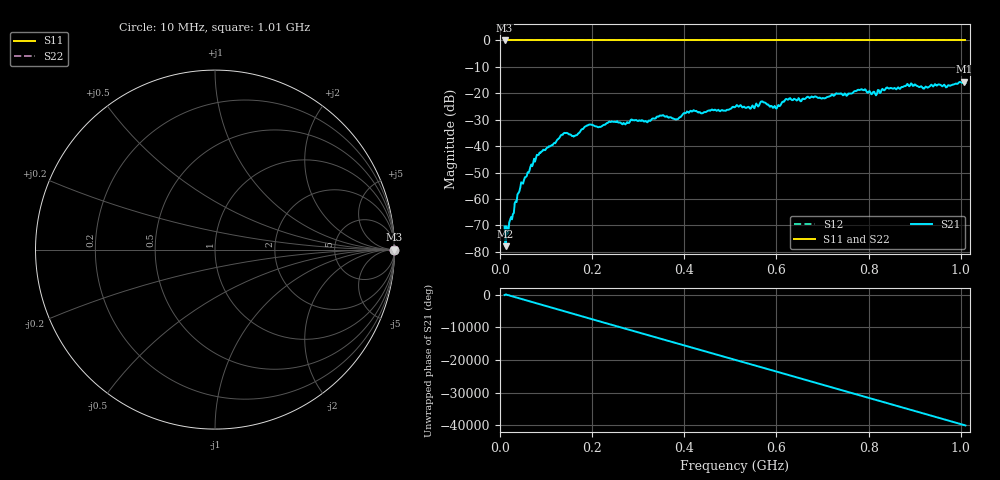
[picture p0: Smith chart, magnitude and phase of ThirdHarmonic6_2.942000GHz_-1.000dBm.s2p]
! 8/17/2025 8:14:58 AM
! C:\ANRITSUVNA\TEMP\TEMP.S2P
! CHANNEL.1
! TR.MEASUREMENT
! RAW.DATA
! RF.CORRECTION.OFF
! AVERAGING.OFF
! IF.BANDWIDTH: 5KHZ
! SWEEPTYPE:  FREQ.SWEEP(Linear)
! Reference Plane Port Info
! PORT:  PORT1  PORT2
! DISTANCE:  0  m  0  m
! TIME:  0  s  0  s
! PHASE.OFFSET:  0  deg.  0  deg.
! LOSS:  0  dB  0  dB
! REF.LOSS:  0  dB  0  dB
! REF.FREQ:  0  Hz  0  Hz
! Power Info
! POWER:  -20  dBm  -20  dBm
! EFF.POWER:  -20  dBm  -20  dBm
! SOURCE.ATTEN:  0  dB  0  dB
! TEST.ATTEN:  0  dB  0  dB
# GHZ S RI R 50.0
! FREQ.GHZ  S11RE  S11IM  S21RE  S21IM  S12RE  S12IM  S22RE  S22IM
!; PortSelection: Port_12
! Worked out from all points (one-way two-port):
!   501 points, 10 MHz to 1.01 GHz, reference 50 ohm
!   highest |S21| = -15.62 dB at 1.008 GHz (marker M1); lowest = -77.9 dB at 12 MHz (marker M2)
!   lowest |S11| = 0.0 dB at 10 MHz (marker M3)
!   |S11| at or under -10 dB: nowhere
!   |S22| runs from 0.0 to 0.0 dB; largest |S21 - S12| = 1.2
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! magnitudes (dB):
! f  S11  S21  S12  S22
! 10 MHz  0.0  -70.4  0.0  0.0
! 12 MHz  0.0  -77.9  0.0  0.0
! 16 MHz  0.0  -73.3  0.0  0.0
! 44 MHz  0.0  -55.7  0.0  0.0
! 82 MHz  0.0  -43.4  0.0  0.0
! 136 MHz  0.0  -35.7  0.0  0.0
! 162 MHz  0.0  -36.1  0.0  0.0
! 178 MHz  0.0  -33.6  0.0  0.0
! 344 MHz  0.0  -28.9  0.0  0.0
! 382 MHz  0.0  -29.9  0.0  0.0
! 416 MHz  0.0  -26.9  0.0  0.0
! 510 MHz  0.0  -25.2  0.0  0.0
! 548 MHz  0.0  -24.6  0.0  0.0
! 570 MHz  0.0  -23.1  0.0  0.0
! 596 MHz  0.0  -24.8  0.0  0.0
! 624 MHz  0.0  -22.4  0.0  0.0
! 678 MHz  0.0  -21.3  0.0  0.0
! 782 MHz  0.0  -18.7  0.0  0.0
! 814 MHz  0.0  -20.1  0.0  0.0
! 844 MHz  0.0  -18.2  0.0  0.0
! 1.008 GHz  0.0  -15.6  0.0  0.0
! 1.01 GHz  0.0  -16.2  0.0  0.0
